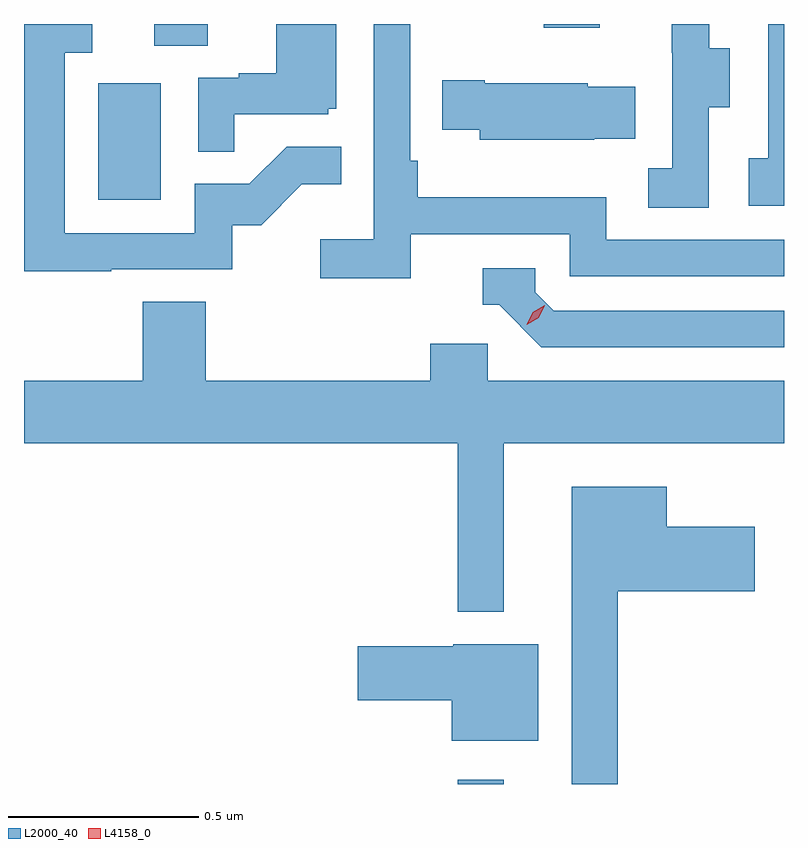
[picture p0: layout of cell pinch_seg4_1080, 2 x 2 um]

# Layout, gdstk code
import gdstk
lib = gdstk.Library(unit=1e-6, precision=1e-09)
def R(c, l, rs):  # rectangles x0, y0, x1, y1
    for r in rs: c.add(gdstk.rectangle(r[:2], r[2:], *l))
def P(c, l, *ps):  # polygons
    for p in ps: c.add(gdstk.Polygon(p, *l))
L2000_40 = (2000, 40)
L4158_0 = (4158, 0)

pinch_seg4_1080 = lib.new_cell('pinch_seg4_1080')
R(pinch_seg4_1080, L2000_40, [(838.704,758.627,838.825,758.638), (837.758,760.164,837.922,760.471), (837.905,760.57,838.045,760.627), (838.93,760.617,839.077,760.627)])
P(pinch_seg4_1080, L2000_40, [(839.562,760.627),(839.52,760.627),(839.52,760.274),(839.469,760.274),(839.469,760.149),(839.562,760.149)],
  [(839.364,760.408),(839.419,760.408),(839.419,760.563),(839.365,760.563),(839.365,760.627),(839.267,760.627),(839.267,760.551),(839.268,760.551),(839.268,760.247),(839.205,760.247),(839.205,760.144),(839.364,760.144)],
  [(838.58,760.074),(838.998,760.074),(838.998,759.963),(839.562,759.963),(839.562,760.059),(839.094,760.059),(839.094,760.171),(838.598,760.171),(838.598,760.267),(838.578,760.267),(838.578,760.627),(838.482,760.627),(838.482,760.06),(838.341,760.06),(838.341,759.958),(838.58,759.958)],
  [(838.115,760.389),(838.362,760.389),(838.362,760.404),(838.384,760.404),(838.384,760.627),(838.226,760.627),(838.226,760.498),(838.127,760.498),(838.127,760.485),(838.02,760.485),(838.02,760.291),(838.115,760.291)],
  [(837.791,759.981),(838.11,759.981),(838.11,760.098),(838.186,760.098),(838.293,760.205),(838.397,760.205),(838.397,760.304),(838.253,760.304),(838.155,760.206),(838.011,760.206),(838.011,760.077),(837.669,760.077),(837.669,760.551),(837.742,760.551),(837.742,760.627),(837.562,760.627),(837.562,759.976),(837.791,759.976)],
  [(839.063,760.325),(839.171,760.325),(839.171,760.462),(839.046,760.462),(839.046,760.471),(838.774,760.471),(838.774,760.479),(838.663,760.479),(838.663,760.349),(838.761,760.349),(838.761,760.322),(839.063,760.322)],
  [(839.562,759.873),(838.956,759.873),(838.908,759.921),(838.908,759.984),(838.769,759.984),(838.769,759.888),(838.812,759.888),(838.923,759.777),(839.562,759.777)],
  [(838.825,759.524),(839.562,759.524),(839.562,759.688),(838.782,759.688),(838.782,759.786),(838.631,759.786),(838.631,759.688),(838.04,759.688),(838.04,759.896),(837.875,759.896),(837.875,759.688),(837.562,759.688),(837.562,759.524),(838.704,759.524),(838.704,759.08),(838.825,759.08)],
  [(839.125,759.134),(839.485,759.134),(839.485,759.304),(839.254,759.304),(839.254,759.409),(839.003,759.409),(839.003,758.627),(839.125,758.627)],
  [(838.915,758.995),(838.692,758.995),(838.692,758.99),(838.44,758.99),(838.44,758.848),(838.688,758.848),(838.688,758.741),(838.915,758.741)])
P(pinch_seg4_1080, L4158_0, [(838.885,759.835),(838.885,759.835),(838.901,759.868),(838.932,759.887),(838.932,759.887),(838.932,759.887),(838.916,759.854),(838.885,759.835)])

lib.write_gds('pinch_seg4_1080.gds')
